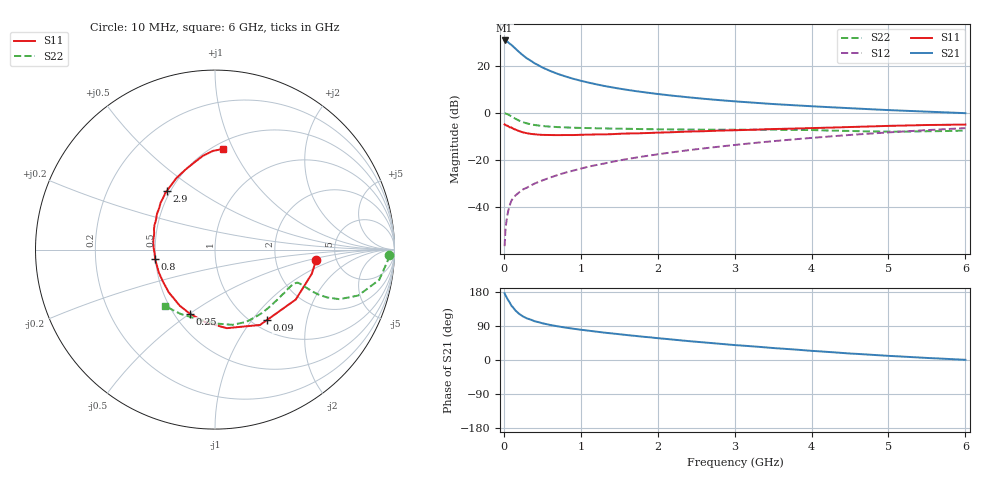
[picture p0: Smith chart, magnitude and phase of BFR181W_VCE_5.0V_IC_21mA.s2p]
! Infineon Technologies  Discrete & RF Semiconductors
! BFR181W
! VCE =  5.0 V,  IC =  21 mA
! Common Emitter S-Parameters:  Jan 2017
# GHz  S  MA  R  50
!  f  S11  S21  S12  S22
! GHz  MAG  ANG  MAG  ANG  MAG  ANG  MAG  ANG
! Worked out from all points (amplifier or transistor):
!   77 points, 10 MHz to 6 GHz, reference 50 ohm
!   highest |S21| = 30.6 dB at 10 MHz (marker M1)
!   |S21| within 3 dB of that: start of sweep to 135.7 MHz
!   unconditionally stable (mu >= 1): 585 MHz to 2.44 GHz
!   at 130 MHz: K = 0.43, MSG = 31.8 dB, |S12| = -35.8 dB
!   at 2.2 GHz: K = 1.03, MAG = 10.9 dB, |S12| = -16.7 dB
!   at 6 GHz: K = 0.83, MSG = 3.2 dB, |S12| = -6.5 dB
!   S11 on the Smith chart (normalised r, x): 10 MHz: 3.52, -0.57; 90 MHz: 1.16, -1.19; 250 MHz: 0.60, -0.50; 800 MHz: 0.50, -0.06; 2.9 GHz: 0.48, +0.38; 6 GHz: 0.56, +0.92
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0.01  0.567 -5.6  33.9 176.1  0.0015 88.5  0.9702 -1.8
0.02  0.556 -14.0  33.45 171.3  0.0031 94.5  0.9631 -3.9
0.05  0.5291 -31.7  31.64 159.8  0.0074 75.4  0.9304 -10.4
0.09  0.4877 -53.4  27.91 146.7  0.0127 71.5  0.8549 -16.2
0.1  0.4892 -59.1  27.24 142.9  0.014 71.0  0.8376 -17.8
0.15  0.4427 -81.5  22.87 130.8  0.0177 65.2  0.7478 -21.7
0.2  0.408 -97.6  19.18 121.6  0.0207 63.1  0.6795 -23.1
0.25  0.3835 -111.4  16.39 114.9  0.0239 62.7  0.6309 -23.5
0.3  0.3692 -122.1  14.17 109.8  0.026 62.9  0.5945 -23.3
0.4  0.3507 -137.5  11.15 102.3  0.0317 64.8  0.5503 -22.6
0.5  0.3401 -149.1  9.104 97.0  0.0369 67.4  0.5245 -22.1
0.6  0.338 -158.0  7.7 92.6  0.0424 68.5  0.5082 -21.8
0.7  0.3357 -165.1  6.658 88.9  0.0481 70.5  0.4971 -21.8
0.8  0.3377 -171.3  5.88 85.5  0.054 71.7  0.4896 -22.2
1.1  0.3445 174.9  4.35 77.4  0.0723 74.0  0.4744 -24.4
1.5  0.3587 161.4  3.246 68.1  0.0978 74.5  0.4592 -29.2
2.1  0.3834 145.8  2.392 55.8  0.139 73.4  0.445 -39.2
2.9  0.4225 129.6  1.797 41.2  0.1999 69.7  0.4388 -55.0
3.1  0.4306 125.8  1.699 38.0  0.2164 68.4  0.4375 -58.9
4.1  0.4782 109.2  1.347 22.9  0.3024 60.6  0.4255 -79.1
5.1  0.5315 95.9  1.121 9.9  0.3925 50.8  0.3987 -105.9
6  0.563 85.2  0.98 0.5  0.4734 41.1  0.4199 -131.2
